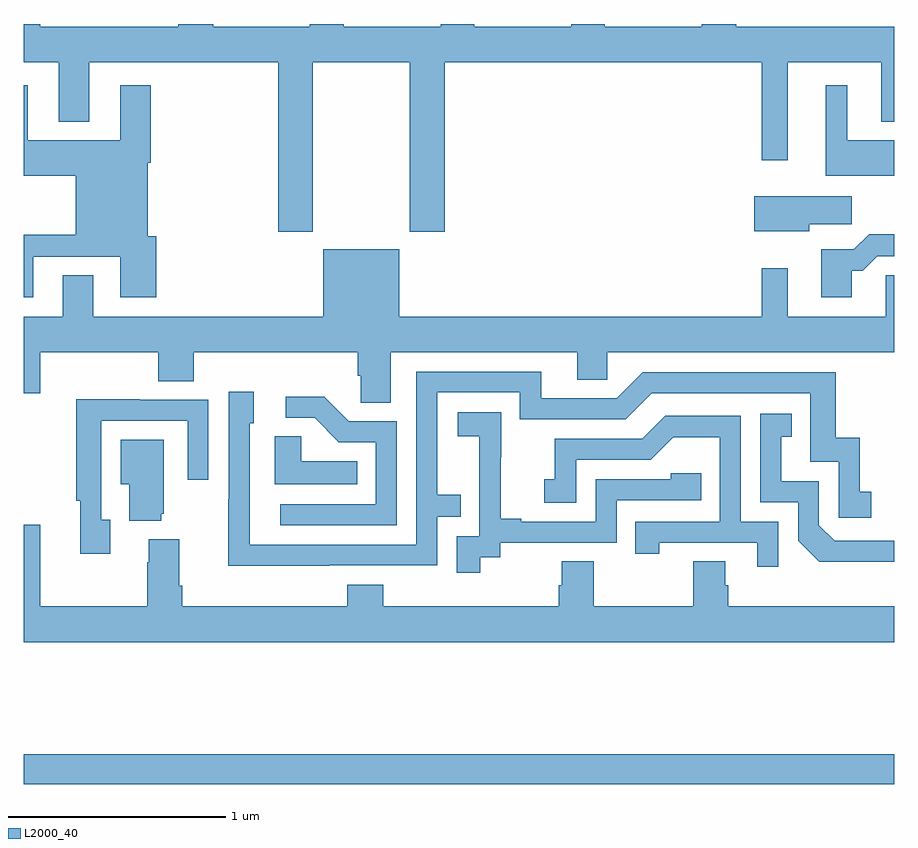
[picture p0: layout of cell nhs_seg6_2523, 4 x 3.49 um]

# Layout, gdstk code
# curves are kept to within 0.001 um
import gdstk
lib = gdstk.Library(unit=1e-6, precision=1e-09)
def R(c, l, rs):  # rectangles x0, y0, x1, y1
    for r in rs: c.add(gdstk.rectangle(r[:2], r[2:], *l))
def P(c, l, *ps):  # polygons
    for p in ps: c.add(gdstk.Polygon(p, *l))
L2000_40 = (2000, 40)

nhs_seg6_2523 = lib.new_cell('nhs_seg6_2523')
R(nhs_seg6_2523, L2000_40, [(261,956.008,265,956.144)])
P(nhs_seg6_2523, L2000_40, [(262.329,959.324),(262.774,959.324),(262.774,958.545),(262.934,958.545),(262.934,959.324),(264.39,959.324),(264.39,958.875),(264.511,958.875),(264.511,959.324),(264.941,959.324),(264.941,959.051),(265,959.051),(265,959.488),(264.275,959.488),(264.275,959.5),(264.115,959.5),(264.115,959.488),(263.67,959.488),(263.67,959.5),(263.515,959.5),(263.515,959.488),(263.07,959.488),(263.07,959.5),(262.915,959.5),(262.915,959.488),(262.47,959.488),(262.47,959.5),(262.315,959.5),(262.315,959.488),(261.87,959.488),(261.87,959.5),(261.71,959.5),(261.71,959.488),(261.076,959.488),(261.076,959.5),(261,959.5),(261,959.324),(261.161,959.324),(261.161,959.051),(261.301,959.051),(261.301,959.324),(262.169,959.324),(262.169,958.545),(262.329,958.545)],
  [(261.043,958.431),(261.443,958.431),(261.443,958.245),(261.608,958.245),(261.608,958.524),(261.571,958.524),(261.571,958.862),(261.584,958.862),(261.584,959.218),(261.443,959.218),(261.443,958.966),(261.019,958.966),(261.019,959.218),(261,959.218),(261,958.802),(261.239,958.802),(261.239,958.532),(261,958.532),(261,958.245),(261.043,958.245)],
  [(265,958.966),(264.784,958.966),(264.784,959.218),(264.686,959.218),(264.686,958.802),(265,958.802)],
  [(264.61,958.579),(264.805,958.579),(264.805,958.708),(264.356,958.708),(264.356,958.547),(264.61,958.547)],
  [(264.805,958.367),(264.854,958.367),(264.921,958.434),(265,958.434),(265,958.535),(264.884,958.535),(264.814,958.465),(264.665,958.465),(264.665,958.245),(264.805,958.245)],
  [(261,957.804),(261.076,957.804),(261.076,957.992),(261.617,957.992),(261.617,957.859),(261.782,957.859),(261.782,957.992),(262.535,957.992),(262.535,957.883),(262.548,957.883),(262.548,957.76),(262.687,957.76),(262.687,957.992),(263.543,957.992),(263.543,957.865),(263.682,957.865),(263.682,957.992),(265,957.992),(265,958.346),(264.96,958.346),(264.96,958.156),(264.511,958.156),(264.511,958.378),(264.39,958.378),(264.39,958.156),(262.726,958.156),(262.726,958.465),(262.376,958.465),(262.376,958.156),(261.319,958.156),(261.319,958.346),(261.179,958.346),(261.179,958.156),(261,958.156)],
  [(262.403,957.012),(262.899,957.012),(262.899,957.237),(263.009,957.237),(263.009,957.338),(262.899,957.338),(262.899,957.807),(263.28,957.807),(263.28,957.684),(263.766,957.684),(263.886,957.804),(264.615,957.804),(264.615,957.489),(264.744,957.489),(264.744,957.231),(264.895,957.231),(264.895,957.351),(264.842,957.351),(264.842,957.598),(264.731,957.598),(264.731,957.9),(263.844,957.9),(263.724,957.78),(263.377,957.78),(263.377,957.903),(262.803,957.903),(262.803,957.108),(262.038,957.108),(262.038,957.666),(262.057,957.666),(262.057,957.811),(261.942,957.811),(261.942,957.317),(261.94,957.317),(261.94,957.011)],
  [(262.713,957.675),(262.494,957.675),(262.381,957.788),(262.203,957.788),(262.203,957.69),(262.337,957.69),(262.448,957.579),(262.617,957.579),(262.617,957.294),(262.179,957.294),(262.179,957.198),(262.713,957.198)],
  [(261.397,957.222),(261.357,957.222),(261.357,957.678),(261.753,957.678),(261.753,957.405),(261.849,957.405),(261.849,957.774),(261.533,957.774),(261.533,957.776),(261.241,957.776),(261.241,957.31),(261.26,957.31),(261.26,957.066),(261.397,957.066)],
  [(263.098,957.049),(263.19,957.049),(263.19,957.117),(263.724,957.117),(263.724,957.312),(264.113,957.312),(264.113,957.435),(263.973,957.435),(263.973,957.408),(263.628,957.408),(263.628,957.213),(263.287,957.213),(263.287,957.226),(263.192,957.226),(263.192,957.509),(263.193,957.509),(263.193,957.715),(262.995,957.715),(262.995,957.605),(263.093,957.605),(263.093,957.377),(263.094,957.377),(263.094,957.147),(262.989,957.147),(262.989,956.979),(263.098,956.979)],
  [(265,957.126),(264.726,957.126),(264.654,957.198),(264.654,957.399),(264.481,957.399),(264.481,957.603),(264.53,957.603),(264.53,957.709),(264.384,957.709),(264.384,957.303),(264.558,957.303),(264.558,957.126),(264.656,957.029),(265,957.029)],
  [(264.468,957.213),(264.294,957.213),(264.294,957.699),(263.948,957.699),(263.843,957.594),(263.44,957.594),(263.44,957.409),(263.391,957.409),(263.391,957.3),(263.538,957.3),(263.538,957.498),(263.88,957.498),(263.984,957.602),(264.198,957.602),(264.198,957.213),(263.809,957.213),(263.809,957.066),(263.92,957.066),(263.92,957.117),(264.371,957.117),(264.371,957.006),(264.468,957.006)],
  [(262.532,957.49),(262.275,957.49),(262.275,957.605),(262.154,957.605),(262.154,957.386),(262.532,957.386)],
  [(261.632,957.249),(261.643,957.249),(261.643,957.589),(261.446,957.589),(261.446,957.386),(261.485,957.386),(261.485,957.218),(261.632,957.218)],
  [(265,956.824),(264.236,956.824),(264.236,956.922),(264.223,956.922),(264.223,957.032),(264.076,957.032),(264.076,956.824),(263.619,956.824),(263.619,957.032),(263.471,957.032),(263.471,956.922),(263.459,956.922),(263.459,956.824),(262.652,956.824),(262.652,956.923),(262.487,956.923),(262.487,956.824),(261.728,956.824),(261.728,956.92),(261.715,956.92),(261.715,957.133),(261.575,957.133),(261.575,957.026),(261.568,957.026),(261.568,956.824),(261.076,956.824),(261.076,957.199),(261,957.199),(261,956.66),(265,956.66)])

lib.write_gds('nhs_seg6_2523.gds')
